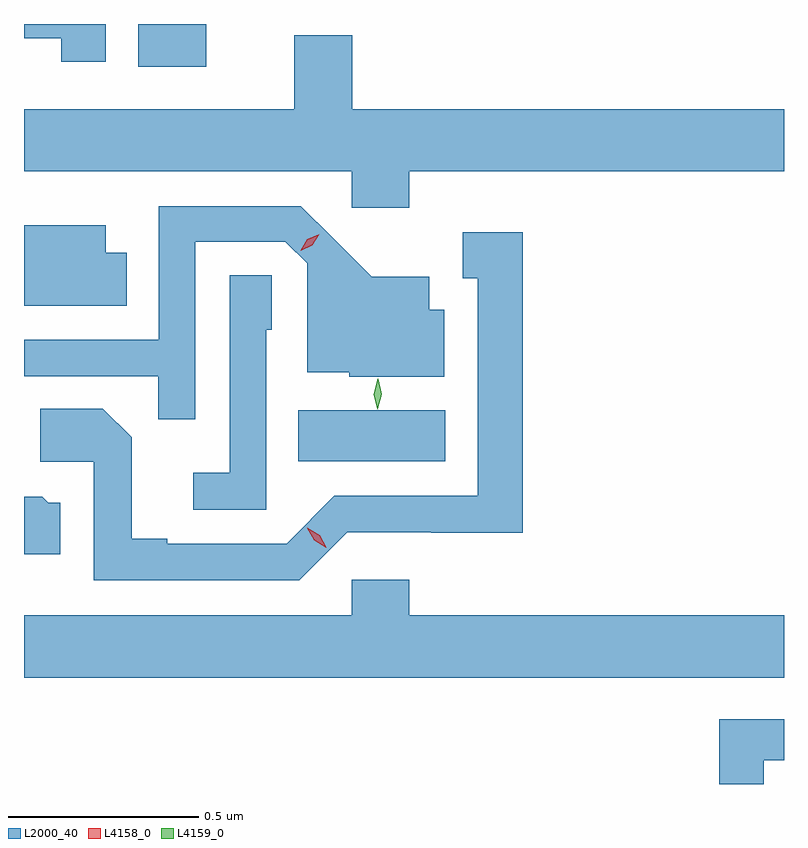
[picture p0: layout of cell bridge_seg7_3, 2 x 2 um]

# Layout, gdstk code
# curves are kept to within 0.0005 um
import gdstk
lib = gdstk.Library(unit=1e-6, precision=1e-09)
def R(c, l, rs):  # rectangles x0, y0, x1, y1
    for r in rs: c.add(gdstk.rectangle(r[:2], r[2:], *l))
def P(c, l, *ps):  # polygons
    for p in ps: c.add(gdstk.Polygon(p, *l))
L2000_40 = (2000, 40)
L4158_0 = (4158, 0)
L4159_0 = (4159, 0)

bridge_seg7_3 = lib.new_cell('bridge_seg7_3')
R(bridge_seg7_3, L2000_40, [(1035.58,1075.778,1035.967,1075.912), (1035.158,1076.816,1035.337,1076.928)])
P(bridge_seg7_3, L2000_40, [(1035.073,1076.928),(1034.858,1076.928),(1034.858,1076.891),(1034.956,1076.891),(1034.956,1076.829),(1035.073,1076.829)],
  [(1035.872,1076.54),(1036.858,1076.54),(1036.858,1076.704),(1035.722,1076.704),(1035.722,1076.899),(1035.569,1076.899),(1035.569,1076.704),(1034.858,1076.704),(1034.858,1076.54),(1035.72,1076.54),(1035.72,1076.445),(1035.872,1076.445)],
  [(1035.309,1076.355),(1035.546,1076.355),(1035.603,1076.298),(1035.603,1076.012),(1035.714,1076.012),(1035.714,1076),(1035.964,1076),(1035.964,1076.176),(1035.925,1076.176),(1035.925,1076.263),(1035.773,1076.263),(1035.586,1076.448),(1035.213,1076.448),(1035.213,1076.097),(1034.858,1076.097),(1034.858,1076.001),(1035.211,1076.001),(1035.211,1075.888),(1035.309,1075.888)],
  [(1035.128,1076.326),(1035.073,1076.326),(1035.073,1076.398),(1034.858,1076.398),(1034.858,1076.186),(1035.128,1076.186)],
  [(1035.708,1075.59),(1035.93,1075.59),(1035.93,1075.589),(1036.171,1075.589),(1036.171,1076.38),(1036.013,1076.38),(1036.013,1076.259),(1036.052,1076.259),(1036.052,1075.686),(1035.675,1075.686),(1035.549,1075.56),(1035.235,1075.56),(1035.235,1075.573),(1035.141,1075.573),(1035.141,1075.84),(1035.065,1075.916),(1034.901,1075.916),(1034.901,1075.776),(1035.042,1075.776),(1035.042,1075.464),(1035.582,1075.464)],
  [(1035.495,1076.124),(1035.51,1076.124),(1035.51,1076.267),(1035.399,1076.267),(1035.399,1075.747),(1035.303,1075.747),(1035.303,1075.65),(1035.495,1075.65)],
  [(1034.953,1075.668),(1034.922,1075.668),(1034.906,1075.684),(1034.858,1075.684),(1034.858,1075.532),(1034.953,1075.532)],
  [(1036.858,1075.372),(1035.872,1075.372),(1035.872,1075.465),(1035.72,1075.465),(1035.72,1075.372),(1034.858,1075.372),(1034.858,1075.208),(1036.858,1075.208)],
  [(1036.805,1074.99),(1036.858,1074.99),(1036.858,1075.098),(1036.687,1075.098),(1036.687,1074.928),(1036.805,1074.928)])
P(bridge_seg7_3, L4158_0, [(1035.654,1075.55),(1035.622,1075.569),(1035.604,1075.601),(1035.604,1075.602),(1035.604,1075.602),(1035.636,1075.583),(1035.654,1075.551),(1035.654,1075.55)],
  [(1035.586,1076.331),(1035.586,1076.332),(1035.604,1076.361),(1035.635,1076.375),(1035.635,1076.375),(1035.635,1076.375),(1035.617,1076.346),(1035.586,1076.331)])
P(bridge_seg7_3, L4159_0, [(1035.789,1075.914),(1035.788,1075.915),(1035.779,1075.954),(1035.789,1075.994),(1035.789,1075.994),(1035.79,1075.994),(1035.799,1075.954),(1035.789,1075.915)])

lib.write_gds('bridge_seg7_3.gds')
